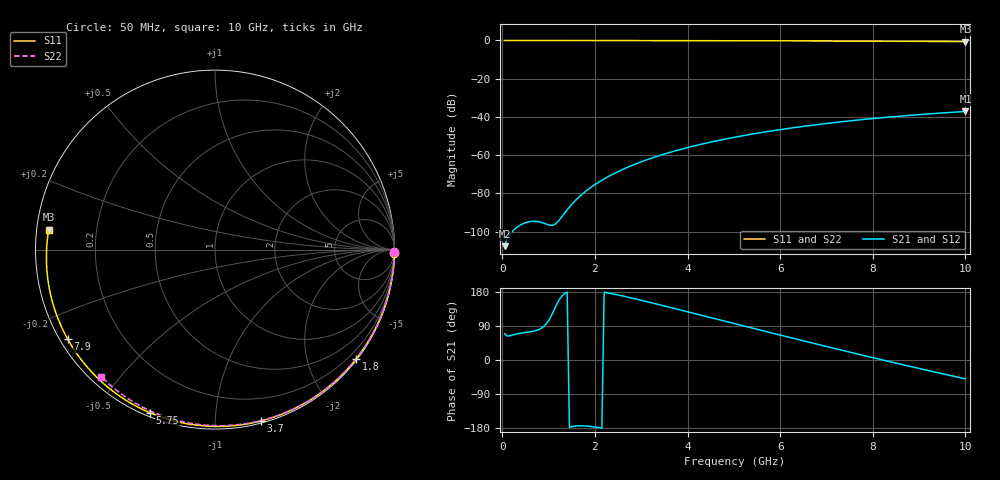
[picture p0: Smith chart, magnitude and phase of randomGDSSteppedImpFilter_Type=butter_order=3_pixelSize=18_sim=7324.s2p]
! freq	dB(S11)	phase(S11)	dB(S12)	phase(S12)
!  dB(S21)	phase(S21)	dB(S22)	phase(S22)
!S-par simulation data
#  GHz  S  DB  R 50
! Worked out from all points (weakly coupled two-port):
!   200 points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, 50 MHz to 10 GHz, reference 50 ohm
!   highest |S21| = -37.14 dB at 10 GHz (marker M1); lowest = -107.6 dB at 50 MHz (marker M2)
!   lowest |S11| = -0.6 dB at 10 GHz (marker M3), VSWR 28.87, Z = 1.74 + j3 ohm
!   |S11| at or under -10 dB: nowhere
!   |S22| runs from -0.4 to 0.0 dB; largest |S21 - S12| = 0
!   S11 on the Smith chart (normalised r, x): 50 MHz: open; 1.8 GHz: 0.03, -2.93; 3.7 GHz: 0.02, -1.31; 5.75 GHz: 0.02, -0.68; 7.9 GHz: 0.02, -0.28; 10 GHz: 0.03, +0.06
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0.05  -0.00 -1.1  -107.57 69.6  -107.57 69.6  -0.00 -0.8
0.45  -0.01 -9.6  -95.77 71.7  -95.77 71.7  -0.01 -6.9
0.85  -0.02 -18.0  -95.16 84.6  -95.16 84.6  -0.02 -12.9
1.3  -0.03 -27.4  -91.73 170.2  -91.73 170.2  -0.02 -19.6
1.75  -0.05 -36.6  -79.87 -173.7  -79.87 -173.7  -0.03 -26.3
1.8  -0.05 -37.6  -78.88 -174.1  -78.88 -174.1  -0.03 -27.0
2.1  -0.06 -43.7  -73.81 -178.8  -73.81 -178.8  -0.04 -31.4
2.3  -0.06 -47.7  -71.02 176.7  -71.02 176.7  -0.04 -34.3
2.5  -0.07 -51.7  -68.56 171.6  -68.56 171.6  -0.05 -37.2
2.9  -0.08 -59.6  -64.38 160.5  -64.38 160.5  -0.06 -43.0
3.4  -0.09 -69.2  -60.13 145.7  -60.13 145.7  -0.07 -50.0
3.7  -0.10 -74.9  -57.96 136.5  -57.96 136.5  -0.07 -54.2
4.35  -0.12 -86.9  -53.96 116.5  -53.96 116.5  -0.09 -63.1
5.05  -0.15 -99.5  -50.45 94.9  -50.45 94.9  -0.11 -72.4
5.75  -0.19 -111.8  -47.54 73.4  -47.54 73.4  -0.14 -81.5
6.7  -0.25 -128.1  -44.30 44.6  -44.30 44.6  -0.18 -93.3
7.3  -0.30 -138.4  -42.58 26.7  -42.58 26.7  -0.21 -100.6
7.9  -0.35 -148.7  -41.07 9.1  -41.07 9.1  -0.25 -107.7
8.35  -0.40 -156.5  -40.07 -3.9  -40.07 -3.9  -0.29 -113.0
9.2  -0.49 -171.7  -38.42 -27.9  -38.42 -27.9  -0.36 -122.8
9.6  -0.55 -179.2  -37.75 -38.9  -37.75 -38.9  -0.40 -127.3
10  -0.60 173.1  -37.14 -49.8  -37.14 -49.8  -0.45 -131.8
